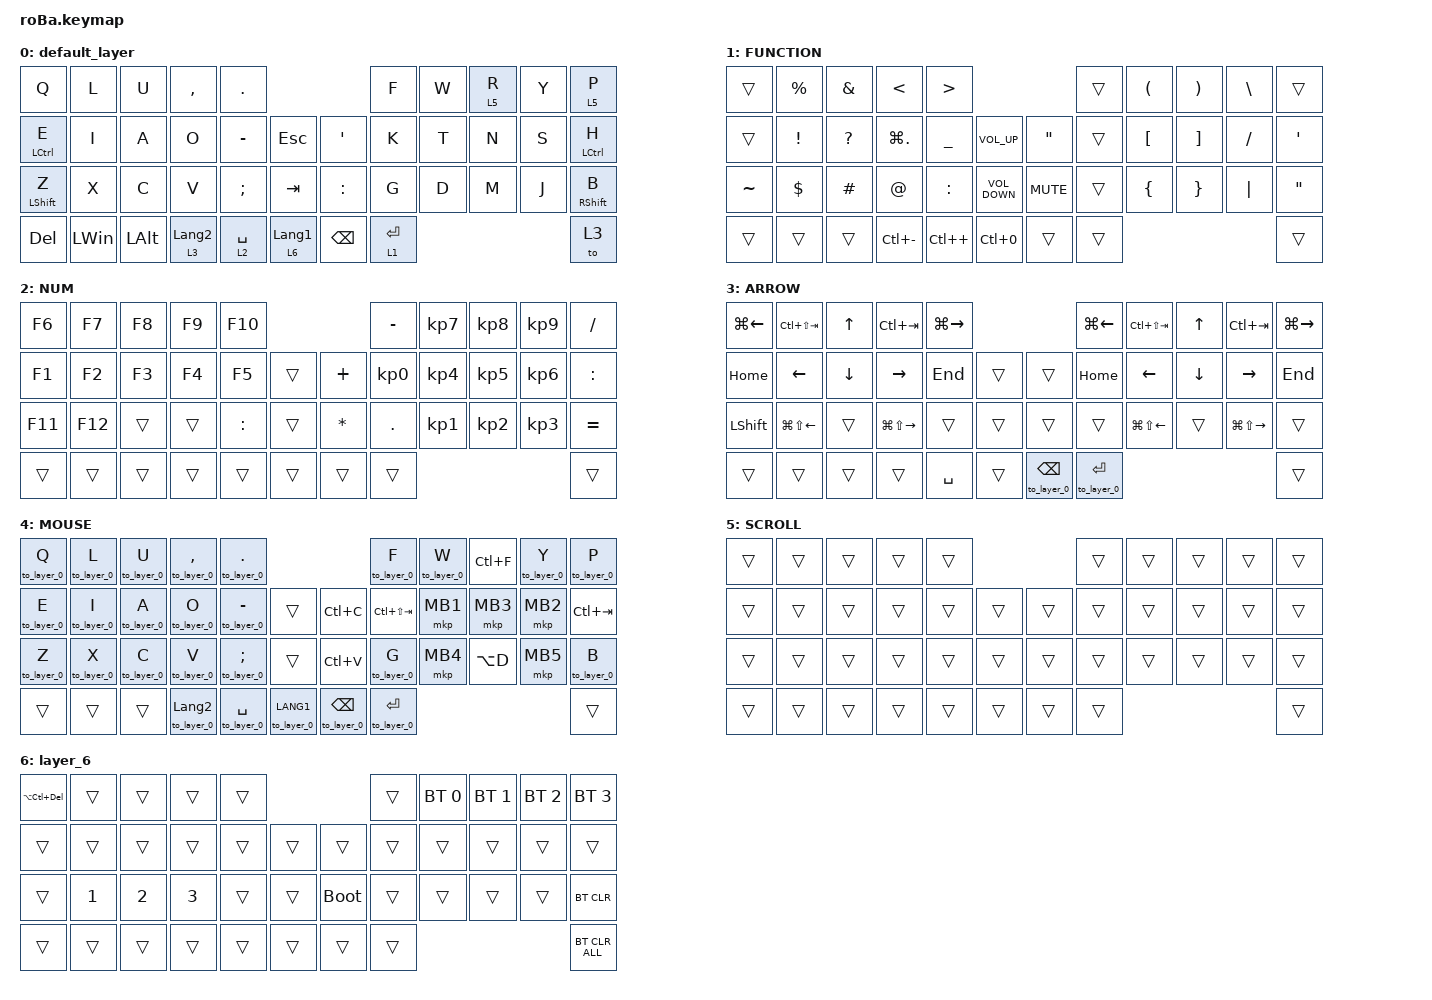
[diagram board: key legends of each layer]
#include <behaviors.dtsi>
#include <dt-bindings/zmk/bt.h>
#include <dt-bindings/zmk/keys.h>
#include <dt-bindings/zmk/pointing.h>

#define ZMK_POINTING_DEFAULT_SCRL_VAL 100
#define MOUSE 4
#define SCROLL 5
#define NUM 6

&mt {
    flavor = "hold-preferred";
    quick-tap-ms = <0>;
};

&sl { release-after-ms = <250>; };

/ {
    combos {
        compatible = "zmk,combos";

        BT0 {
            bindings = <&bt BT_SEL 0>;
            key-positions = <28 22>;
        };

        BT1 {
            bindings = <&bt BT_SEL 1>;
            key-positions = <28 23>;
        };

        BT2 {
            bindings = <&bt BT_SEL 2>;
            key-positions = <28 24>;
        };

        BT3 {
            bindings = <&none>;
            key-positions = <28 25>;
        };
    };

    macros {
        to_layer_0: to_layer_0 {
            compatible = "zmk,behavior-macro-one-param";
            #binding-cells = <1>;
            bindings = <&to 0 &macro_param_1to1 &kp MACRO_PLACEHOLDER>;
            label = "TO_LAYER_0";
        };

        mkp_exit_AML: mkp_exit_AML {
            compatible = "zmk,behavior-macro-one-param";
            #binding-cells = <1>;
            bindings =
                <&macro_press>,
                <&macro_param_1to1 &mkp MACRO_PLACEHOLDER>,
                <&macro_pause_for_release>,
                <&macro_release>,
                <&macro_param_1to1 &mkp MACRO_PLACEHOLDER>,
                <&macro_tap>,
                <&sl 4>;

            label = "MKP_EXIT_AML";
        };

        parenthesis: parenthesis {
            compatible = "zmk,behavior-macro";
            #binding-cells = <0>;
            bindings = <&kp LANG_HANJA &kp LEFT_PARENTHESIS &kp RIGHT_PARENTHESIS &kp LEFT_ARROW>;
            label = "parenthesis";
        };
    };

    behaviors {
        scroll_up_down: behavior_sensor_rotate_mouse_wheel_up_down {
            compatible = "zmk,behavior-sensor-rotate";
            #sensor-binding-cells = <0>;
            bindings = <&msc SCRL_DOWN>, <&msc SCRL_UP>;

            // 追加: スクロールのタップ時間を設定 (20ms)

            tap-ms = <20>;
        };

        multi_tap_tab_bspc: behavior_multi_tap {
            label = "MT_TAB_BSPC";
            #binding-cells = <0>;
            bindings = <&kp TAB>, <&kp BSPC>;

            max-taps = <2>;
            max-tap-interrupt-ms = <250>;
        };
    };

    keymap {
        compatible = "zmk,keymap";

        default_layer {
            bindings = <
&kp Q               &kp L         &kp U         &kp COMMA         &kp PERIOD                                          &kp F        &kp W  &lt 5 R  &kp Y  &lt 5 P
&mt LEFT_CONTROL E  &kp I         &kp A         &kp O             &kp MINUS      &kp ESC               &kp SQT        &kp K        &kp T  &kp N    &kp S  &mt LEFT_CONTROL H
&mt LEFT_SHIFT Z    &kp X         &kp C         &kp V             &kp SEMICOLON  &kp TAB               &kp COLON      &kp G        &kp D  &kp M    &kp J  &mt RIGHT_SHIFT B
&kp DELETE          &kp LEFT_WIN  &kp LEFT_ALT  &lt 3 LANGUAGE_2  &lt 2 SPACE    &lt 6 LANGUAGE_1      &kp BACKSPACE  &lt 1 ENTER                         &to 3
            >;
        };

        FUNCTION {
            bindings = <
&trans     &kp PERCENT      &kp AMPERSAND  &kp LESS_THAN   &kp GREATER_THAN                                            &trans  &kp LEFT_PARENTHESIS  &kp RIGHT_PARENTHESIS  &kp BACKSLASH  &trans
&trans     &kp EXCLAMATION  &kp QUESTION   &kp LG(PERIOD)  &kp UNDERSCORE    &kp C_VOLUME_UP        &kp DOUBLE_QUOTES  &trans  &kp LEFT_BRACKET      &kp RIGHT_BRACKET      &kp SLASH      &kp SQT
&kp TILDE  &kp DOLLAR       &kp HASH       &kp AT_SIGN     &kp COLON         &kp C_VOLUME_DOWN      &kp K_MUTE         &trans  &kp LEFT_BRACE        &kp RIGHT_BRACE        &kp PIPE       &kp DOUBLE_QUOTES
&trans     &trans           &trans         &kp LC(MINUS)   &kp LC(PLUS)      &kp LC(N0)             &trans             &trans                                                              &trans
            >;
        };

        NUM {
            bindings = <
&kp F6   &kp F7   &kp F8  &kp F9  &kp F10                              &kp MINUS        &kp KP_NUMBER_7  &kp KP_NUMBER_8  &kp KP_NUMBER_9  &kp SLASH
&kp F1   &kp F2   &kp F3  &kp F4  &kp F5     &trans      &kp PLUS      &kp KP_NUMBER_0  &kp KP_NUMBER_4  &kp KP_NUMBER_5  &kp KP_N6        &kp COLON
&kp F11  &kp F12  &trans  &trans  &kp COLON  &trans      &kp ASTERISK  &kp PERIOD       &kp KP_NUMBER_1  &kp KP_N2        &kp KP_NUMBER_3  &kp EQUAL
&trans   &trans   &trans  &trans  &trans     &trans      &trans        &trans                                                              &trans
            >;
        };

        ARROW {
            bindings = <
&kp LG(LEFT)    &kp LC(LS(TAB))         &kp UP_ARROW    &kp LC(TAB)              &kp LG(RIGHT)                                     &kp LG(LEFT)       &kp LC(LS(TAB))         &kp UP_ARROW    &kp LC(TAB)        &kp LG(RIGHT)
&kp HOME        &kp LEFT_ARROW          &kp DOWN_ARROW  &kp RIGHT_ARROW          &kp END        &trans      &trans                 &kp HOME           &kp LEFT                &kp DOWN_ARROW  &kp RIGHT          &kp END
&kp LEFT_SHIFT  &kp LG(LS(LEFT_ARROW))  &trans          &kp LG(LS(RIGHT_ARROW))  &trans         &trans      &trans                 &trans             &kp LG(LS(LEFT_ARROW))  &trans          &kp LG(LS(RIGHT))  &trans
&trans          &trans                  &trans          &trans                   &kp SPACE      &trans      &to_layer_0 BACKSPACE  &to_layer_0 ENTER                                                             &trans
            >;
        };

        MOUSE {
            bindings = <
&to_layer_0 Q  &to_layer_0 L  &to_layer_0 U  &to_layer_0 COMMA       &to_layer_0 PERIOD                                                   &to_layer_0 F      &to_layer_0 W  &kp LC(F)  &to_layer_0 Y  &to_layer_0 P
&to_layer_0 E  &to_layer_0 I  &to_layer_0 A  &to_layer_0 O           &to_layer_0 MINUS      &trans                 &kp LC(C)              &kp LC(LS(TAB))    &mkp MB1       &mkp MB3   &mkp MB2       &kp LC(TAB)
&to_layer_0 Z  &to_layer_0 X  &to_layer_0 C  &to_layer_0 V           &to_layer_0 SEMICOLON  &trans                 &kp LC(V)              &to_layer_0 G      &mkp MB4       &kp LA(D)  &mkp MB5       &to_layer_0 B
&trans         &trans         &trans         &to_layer_0 LANGUAGE_2  &to_layer_0 SPACE      &to_layer_0 LANG1      &to_layer_0 BACKSPACE  &to_layer_0 ENTER                                           &trans
            >;
        };

        SCROLL {
            bindings = <
&trans  &trans  &trans  &trans  &trans                      &trans  &trans  &trans  &trans  &trans
&trans  &trans  &trans  &trans  &trans  &trans      &trans  &trans  &trans  &trans  &trans  &trans
&trans  &trans  &trans  &trans  &trans  &trans      &trans  &trans  &trans  &trans  &trans  &trans
&trans  &trans  &trans  &trans  &trans  &trans      &trans  &trans                          &trans
            >;
        };

        layer_6 {
            bindings = <
&kp LA(LC(DELETE))  &trans        &trans        &trans        &trans                           &trans  &bt BT_SEL 0  &bt BT_SEL 1  &bt BT_SEL 2  &bt BT_SEL 3
&trans              &trans        &trans        &trans        &trans  &trans      &trans       &trans  &trans        &trans        &trans        &trans
&trans              &kp NUMBER_1  &kp NUMBER_2  &kp NUMBER_3  &trans  &trans      &bootloader  &trans  &trans        &trans        &trans        &bt BT_CLR
&trans              &trans        &trans        &trans        &trans  &trans      &trans       &trans                                            &bt BT_CLR_ALL
            >;
        };
    };
};
